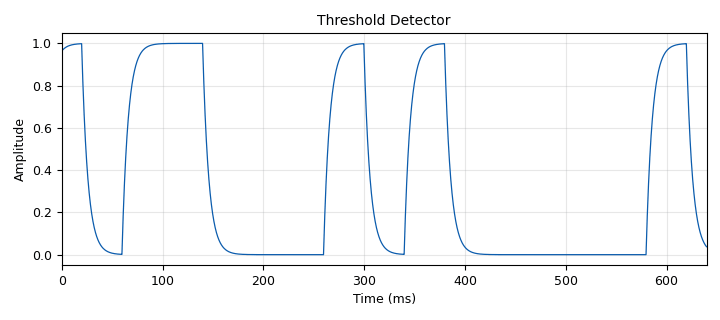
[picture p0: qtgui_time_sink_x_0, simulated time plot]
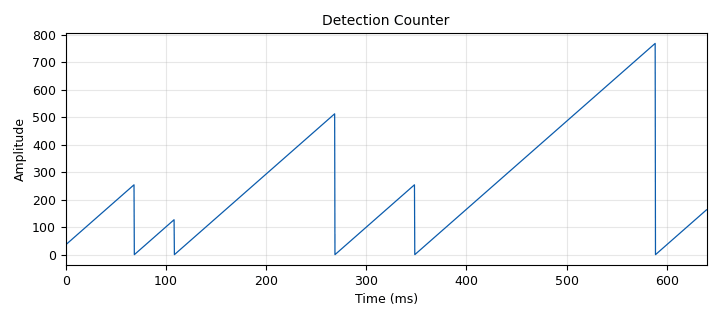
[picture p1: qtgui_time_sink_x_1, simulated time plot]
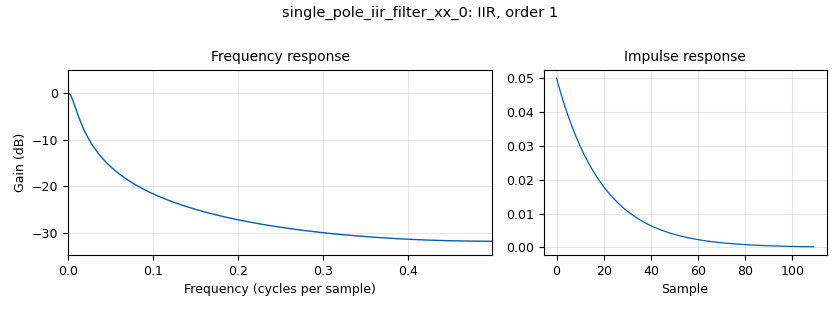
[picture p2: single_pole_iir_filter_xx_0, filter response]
options:
  parameters:
    generate_options: qt_gui
    id: Tags
    output_language: python
    title: TagFlowGraph
  states: {}

blocks:
- name: samp_rate
  id: variable
  parameters:
    value: '3200'
  states: {}
- name: blocks_add_const_vxx_0
  id: blocks_add_const_vxx
  parameters:
    const: '0.5'
    type: float
  states: {}
- name: blocks_multiply_const_vxx_0
  id: blocks_multiply_const_vxx
  parameters:
    const: '0.5'
    type: float
  states: {}
- name: blocks_repeat_0
  id: blocks_repeat
  parameters:
    interp: '128'
    type: float
  states: {}
- name: blocks_throttle2_0
  id: blocks_throttle2
  parameters:
    samples_per_second: samp_rate
    type: float
  states: {}
- name: digital_glfsr_source_x_0
  id: digital_glfsr_source_x
  parameters:
    degree: '32'
    mask: '0'
    repeat: 'True'
    seed: '1'
    type: float
  states: {}
- name: epy_block_0
  id: epy_block
  parameters:
    _source_code: |
      """
      Embedded Python Blocks:

      Each time this file is saved, GRC will instantiate the first class it finds
      to get ports and parameters of your block. The arguments to __init__  will
      be the parameters. All of them are required to have default values!
      """

      import numpy as np
      from gnuradio import gr
      import pmt


      class blk(gr.sync_block):  # other base classes are basic_block, decim_block, interp_block
          """Embedded Python Block example - a simple multiply const"""

          def __init__(self, threshold=1.0,report_period=128):  # only default arguments here
              """arguments to this function show up as parameters in GRC"""
              gr.sync_block.__init__(
                  self,
                  name='Threshold Detector',   # will show up in GRC
                  in_sig=[np.float32],
                  out_sig=[np.float32]
              )
              # if an attribute with the same name as a parameter is found,
              # a callback is registered (properties work, too).
              self.threshold = threshold
              self.report_period = report_period

              self.timer = 0
              self.readyForTag=True

          def work(self, input_items, output_items):
              
              for index in range(len(input_items[0])):
                  if (input_items[0][index] >= self.threshold and self.readyForTag == True):
                      #define the key as 'detect'
                      key=pmt.intern('detect')
                      #get the detection value
                      value = pmt.from_float(np.round(float(input_items[0][index]),2))
                      #tag index to be written
                      writeIndex = self.nitems_written(0) + index
                      # add the tag object (key, value pair)
                      self.add_item_tag(0, writeIndex, key, value )
                      # tag has been written, set state
                      self.readyForTag = False
         
                  #increase the timer by 1
                  if (self.readyForTag == False): 
                      self.timer = self.timer + 1

                  # set flag to write
                  if (self.timer >= self.report_period):
                      # reset timer
                      self.timer = 0
                      # reset state once timer hits max value
                      self.readyForTag = True 
                  
              output_items[0][:] = input_items[0]
              return len(output_items[0])
    report_period: '128'
    threshold: '0.75'
  states: {}
- name: epy_block_1
  id: epy_block
  parameters:
    _source_code: "\"\"\"\nEmbedded Python Blocks:\n\nEach time this file is saved, GRC will instantiate the first class it finds\nto get ports and parameters of your block. The arguments to __init__  will\nbe the parameters. All of them are required to have default values!\n\"\"\"\n\nimport numpy as np\nfrom gnuradio import gr\nimport pmt\n\n\nclass blk(gr.sync_block):  # other base classes are basic_block, decim_block, interp_block\n    \"\"\"Embedded Python Block example - a simple multiply const\"\"\"\n\n    def __init__(self):  # only default arguments here\n        \"\"\"arguments to this function show up as parameters in GRC\"\"\"\n        gr.sync_block.__init__(\n            self,\n            name='Detection Counter',   # will show up in GRC\n            in_sig=[np.float32],\n            out_sig=[np.float32]\n        )\n        # if an attribute with the same name as a parameter is found,\n        # a callback is registered (properties work, too).\n\n        self.samplesSinceDetection = 0\n  \n\n    def work(self, input_items, output_items):\n        \"\"\"get all tags associated with input_items[0]\"\"\"\n        tagTuple = self.get_tags_in_window(0,0, len(input_items[0]))\n\n\n        relativeOffsetList = []\n\n        for tag in tagTuple:\n            if (pmt.to_python(tag.key)=='detect'):\n                relativeOffsetList.append( tag.offset - self.nitems_read(0) )\n\n        relativeOffsetList.sort()\n\n        for index in range(len(output_items[0])):\n            #output is now samples since detection counter\n            output_items[0][index] = self.samplesSinceDetection\n            #make sure the list is non-empty, and if the current sample\n            # is greater than or equal to the next\n            if (len(relativeOffsetList) > 0 and index >= relativeOffsetList[0]):\n                # clear the offset\n                relativeOffsetList.pop(0)\n                #reset the output counter\n                self.samplesSinceDetection = 0\n            else:\n                # a detect tag has not been seen, so continue to increase\n                # the output counter\n                self.samplesSinceDetection = self.samplesSinceDetection + 1\n\n        return len(output_items[0])\n\n\n\n       \n"
  states: {}
- name: qtgui_time_sink_x_0
  id: qtgui_time_sink_x
  parameters:
    autoscale: 'True'
    name: '"Threshold Detector"'
    size: '2048'
    srate: samp_rate
    type: float
  states: {}
- name: qtgui_time_sink_x_1
  id: qtgui_time_sink_x
  parameters:
    autoscale: 'True'
    name: '"Detection Counter"'
    size: '2048'
    srate: samp_rate
    type: float
  states: {}
- name: single_pole_iir_filter_xx_0
  id: single_pole_iir_filter_xx
  parameters:
    alpha: '0.05'
    type: float
  states: {}
- name: virtual_sink_0
  id: virtual_sink
  parameters:
    stream_id: signal
  states: {}
- name: virtual_source_0
  id: virtual_source
  parameters:
    stream_id: signal
  states: {}

connections:
- [blocks_add_const_vxx_0, '0', single_pole_iir_filter_xx_0, '0']
- [blocks_multiply_const_vxx_0, '0', blocks_add_const_vxx_0, '0']
- [blocks_repeat_0, '0', blocks_multiply_const_vxx_0, '0']
- [blocks_throttle2_0, '0', virtual_sink_0, '0']
- [digital_glfsr_source_x_0, '0', blocks_repeat_0, '0']
- [epy_block_0, '0', epy_block_1, '0']
- [epy_block_0, '0', qtgui_time_sink_x_0, '0']
- [epy_block_1, '0', qtgui_time_sink_x_1, '0']
- [single_pole_iir_filter_xx_0, '0', blocks_throttle2_0, '0']
- [virtual_source_0, '0', epy_block_0, '0']

metadata:
  file_format: 1
  grc_version: 3.10.9.2
